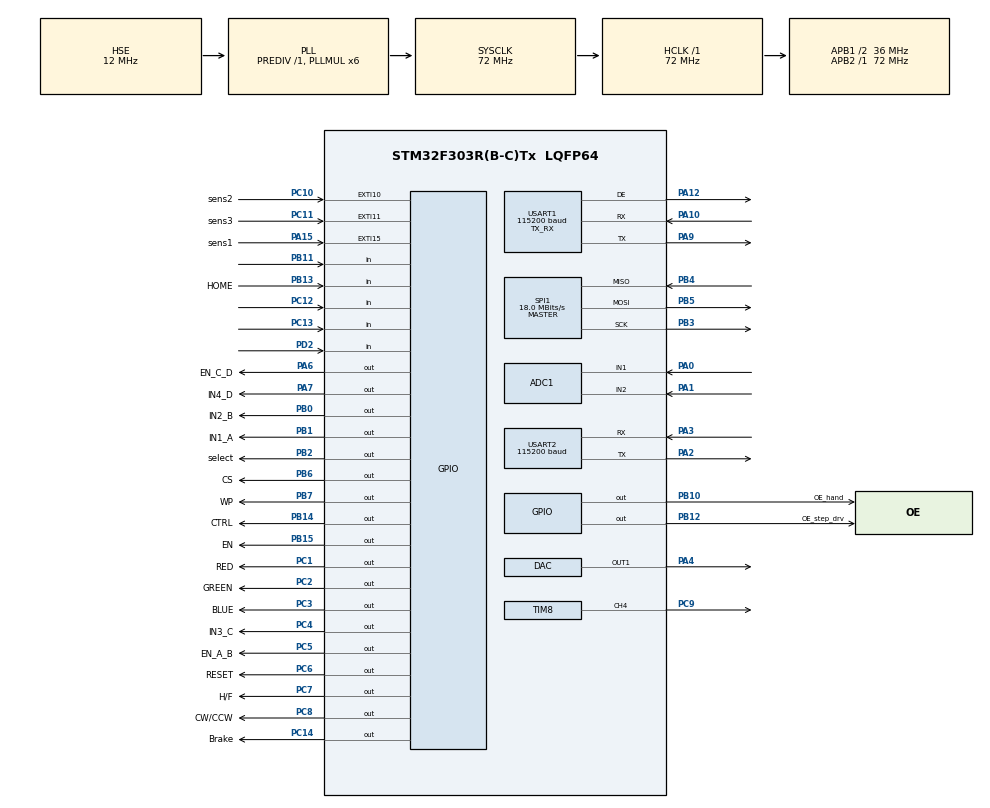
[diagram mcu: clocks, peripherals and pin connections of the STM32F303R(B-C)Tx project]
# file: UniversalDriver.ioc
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ADC1.Channel-0\#ChannelRegularConversion=ADC_CHANNEL_1
ADC1.NbrOfConversionFlag=1
ADC1.Offset-0\#ChannelRegularConversion=0
ADC1.OffsetNumber-0\#ChannelRegularConversion=ADC_OFFSET_NONE
ADC1.Rank-0\#ChannelRegularConversion=1
ADC1.SamplingTime-0\#ChannelRegularConversion=ADC_SAMPLETIME_1CYCLE_5
ADC1.master=1
Dma.Request0=USART2_RX
Dma.Request1=USART2_TX
Dma.USART2_RX.0.Direction=DMA_PERIPH_TO_MEMORY
Dma.USART2_RX.0.Instance=DMA1_Channel6
Dma.USART2_RX.0.MemDataAlignment=DMA_MDATAALIGN_BYTE
Dma.USART2_RX.0.MemInc=DMA_MINC_ENABLE
Dma.USART2_RX.0.Mode=DMA_NORMAL
Dma.USART2_RX.0.PeriphDataAlignment=DMA_PDATAALIGN_BYTE
Dma.USART2_RX.0.PeriphInc=DMA_PINC_DISABLE
Dma.USART2_RX.0.Priority=DMA_PRIORITY_LOW
Dma.USART2_TX.1.Direction=DMA_MEMORY_TO_PERIPH
Dma.USART2_TX.1.Instance=DMA1_Channel7
Dma.USART2_TX.1.MemDataAlignment=DMA_MDATAALIGN_BYTE
Dma.USART2_TX.1.MemInc=DMA_MINC_ENABLE
Dma.USART2_TX.1.Mode=DMA_NORMAL
Dma.USART2_TX.1.PeriphDataAlignment=DMA_PDATAALIGN_BYTE
Dma.USART2_TX.1.PeriphInc=DMA_PINC_DISABLE
Dma.USART2_TX.1.Priority=DMA_PRIORITY_LOW
FREERTOS.BinarySemaphores01=myBinarySem01,Dynamic,NULL;myBinarySem02,Dynamic,NULL;myBinarySem03,Dynamic,NULL
FREERTOS.Tasks01=mainTask,0,512,MainTask,Default,NULL,Dynamic,NULL,NULL;modBus,0,512,ModBus,Default,NULL,Dynamic,NULL,NULL
FREERTOS.configTOTAL_HEAP_SIZE=20480
Mcu.Family=STM32F3
Mcu.Name=STM32F303R(B-C)Tx
Mcu.Package=LQFP64
NVIC.DMA1_Channel6_IRQn=true\:5\:0\:false\:false\:true\:true\:false\:true
NVIC.DMA1_Channel7_IRQn=true\:5\:0\:false\:false\:true\:true\:false\:true
NVIC.EXTI15_10_IRQn=true\:5\:0\:false\:false\:true\:true\:true\:true
NVIC.PriorityGroup=NVIC_PRIORITYGROUP_4
NVIC.TIM1_TRG_COM_TIM17_IRQn=true\:5\:0\:false\:false\:true\:true\:true\:true
NVIC.TIM2_IRQn=true\:5\:0\:false\:false\:true\:true\:true\:true
NVIC.TIM6_DAC_IRQn=true\:5\:0\:false\:false\:true\:true\:true\:true
NVIC.TIM7_IRQn=true\:0\:0\:false\:false\:true\:false\:false\:true
NVIC.TimeBase=TIM7_IRQn
NVIC.TimeBaseIP=TIM7
NVIC.USART1_IRQn=true\:5\:0\:false\:false\:true\:true\:true\:true
PA0.Mode=IN1-Single-Ended
PA0.Signal=ADC1_IN1
PA1.Mode=IN2-Single-Ended
PA1.Signal=ADC1_IN2
PA10.Mode=Asynchronous
PA10.Signal=USART1_RX
PA12.Mode=Hardware Flow Control (RS485)
PA12.Signal=USART1_DE
PA13.Mode=Serial_Wire
PA13.Signal=SYS_JTMS-SWDIO
PA14.Mode=Serial_Wire
PA14.Signal=SYS_JTCK-SWCLK
PA15.GPIO_Label=sens1
PA15.GPIO_ModeDefaultEXTI=GPIO_MODE_IT_RISING_FALLING
PA15.GPIO_PuPd=GPIO_PULLUP
PA15.Signal=GPXTI15
PA2.Mode=Asynchronous
PA2.Signal=USART2_TX
PA3.Mode=Asynchronous
PA3.Signal=USART2_RX
PA4.Signal=COMP_DAC1_group
PA6.GPIO_Label=EN_C_D
PA6.Signal=GPIO_Output
PA7.GPIO_Label=IN4_D
PA7.Signal=GPIO_Output
PA9.Mode=Asynchronous
PA9.Signal=USART1_TX
PB0.GPIO_Label=IN2_B
PB0.Signal=GPIO_Output
PB1.GPIO_Label=IN1_A
PB1.Signal=GPIO_Output
PB10.GPIO_Label=OE_hand
PB10.Signal=GPIO_Output
PB11.Signal=GPIO_Input
PB12.GPIO_Label=OE_step_drv
PB12.Signal=GPIO_Output
PB13.GPIO_Label=HOME
PB13.Signal=GPIO_Input
PB14.GPIO_Label=CTRL
PB14.Signal=GPIO_Output
PB15.GPIO_Label=EN
PB15.Signal=GPIO_Output
PB2.GPIO_Label=select
PB2.Signal=GPIO_Output
PB3.Mode=Full_Duplex_Master
PB3.Signal=SPI1_SCK
PB4.Mode=Full_Duplex_Master
PB4.Signal=SPI1_MISO
PB5.Mode=Full_Duplex_Master
PB5.Signal=SPI1_MOSI
PB6.GPIO_Label=CS
PB6.Signal=GPIO_Output
PB7.GPIO_Label=WP
PB7.Signal=GPIO_Output
PB8.Signal=CAN_RX
PB9.Signal=CAN_TX
PC1.GPIO_Label=RED
PC1.Signal=GPIO_Output
PC10.GPIO_Label=sens2
PC10.GPIO_ModeDefaultEXTI=GPIO_MODE_IT_RISING_FALLING
PC10.GPIO_PuPd=GPIO_PULLUP
PC10.Signal=GPXTI10
PC11.GPIO_Label=sens3
PC11.GPIO_ModeDefaultEXTI=GPIO_MODE_IT_RISING_FALLING
PC11.GPIO_PuPd=GPIO_PULLUP
PC11.Signal=GPXTI11
PC12.Signal=GPIO_Input
PC13.Signal=GPIO_Input
PC14-OSC32_IN.GPIO_Label=Brake
PC14-OSC32_IN.Signal=GPIO_Output
PC2.GPIO_Label=GREEN
PC2.Signal=GPIO_Output
PC3.GPIO_Label=BLUE
PC3.Signal=GPIO_Output
PC4.GPIO_Label=IN3_C
PC4.Signal=GPIO_Output
PC5.GPIO_Label=EN_A_B
PC5.Signal=GPIO_Output
PC6.GPIO_Label=RESET
PC6.Signal=GPIO_Output
PC7.GPIO_Label=H/F
PC7.Signal=GPIO_Output
PC8.GPIO_Label=CW/CCW
PC8.Signal=GPIO_Output
PC9.Signal=S_TIM8_CH4
PD2.Signal=GPIO_Input
PF0-OSC_IN.Mode=HSE-External-Oscillator
PF0-OSC_IN.Signal=RCC_OSC_IN
PF1-OSC_OUT.Mode=HSE-External-Oscillator
PF1-OSC_OUT.Signal=RCC_OSC_OUT
ProjectManager.HeapSize=0x1000
ProjectManager.StackSize=0x400
ProjectManager.TargetToolchain=EWARM V8.32
RCC.AHBFreq_Value=72000000
RCC.APB1CLKDivider=RCC_HCLK_DIV2
RCC.APB1Freq_Value=36000000
RCC.APB1TimFreq_Value=72000000
RCC.APB2Freq_Value=72000000
RCC.APB2TimFreq_Value=72000000
RCC.CortexFreq_Value=72000000
RCC.HCLKFreq_Value=72000000
RCC.HSE_VALUE=12000000
RCC.HSI_VALUE=8000000
RCC.LSE_VALUE=32768
RCC.PLLMUL=RCC_PLL_MUL6
RCC.PLLSourceVirtual=RCC_PLLSOURCE_HSE
RCC.SYSCLKFreq_VALUE=72000000
RCC.SYSCLKSourceVirtual=RCC_SYSCLKSOURCE_PLLCLK
RCC.USBFreq_Value=72000000
RCC.Usart2ClockSelection=RCC_USART2CLKSOURCE_SYSCLK
SH.COMP_DAC1_group.0=DAC_OUT1,DAC_OUT1
SH.S_TIM8_CH4.0=TIM8_CH4,Output Compare4 CH4
SPI1.BaudRatePrescaler=SPI_BAUDRATEPRESCALER_4
SPI1.CalculateBaudRate=18.0 MBits/s
SPI1.Direction=SPI_DIRECTION_2LINES
SPI1.Mode=SPI_MODE_MASTER
SPI1.VirtualType=VM_MASTER
TIM16.Channel=TIM_CHANNEL_1
TIM2.Period=50
TIM6.Prescaler=71
TIM8.Channel-Output\ Compare4\ CH4=TIM_CHANNEL_4
TIM8.Channel-Output\ Compare4\ No\ Output=TIM_CHANNEL_4
TIM8.OCMode_4=TIM_OCMODE_TOGGLE
TIM8.Period=799
TIM8.Prescaler=71
TIM8.Pulse-Output\ Compare4\ CH4=400
TIM8.TIM_MasterOutputTrigger=TIM_TRGO_OC4REF
TIM8.TIM_MasterSlaveMode=TIM_MASTERSLAVEMODE_DISABLE
USART1.AutoBaudRateEnableParam=UART_ADVFEATURE_AUTOBAUDRATE_DISABLE
USART1.BaudRate=115200
USART1.Mode=MODE_TX_RX
USART1.UART_DEAssertionTime=8
USART1.UART_DEDeassertionTime=8
USART1.UART_DEPolarity=UART_DE_POLARITY_HIGH
USART1.VirtualMode-Asynchronous=VM_ASYNC
USART1.VirtualMode-Hardware\ Flow\ Control\ (RS485)=VM_ASYNC
USART2.BaudRate=115200
USART2.VirtualMode-Asynchronous=VM_ASYNC
VP_FREERTOS_VS_CMSIS_V1.Mode=CMSIS_V1
VP_SYS_VS_tim7.Mode=TIM7
VP_TIM16_VS_ClockSourceINT.Mode=Enable_Timer
VP_TIM16_VS_no_output1.Mode=PWM Generation1 No Output
VP_TIM17_VS_ClockSourceINT.Mode=Enable_Timer
VP_TIM2_VS_ClockSourceITR.Mode=TriggerSource_ITR1
VP_TIM2_VS_ControllerModeClock.Mode=Clock Mode
VP_TIM6_VS_ClockSourceINT.Mode=Enable_Timer
board=custom

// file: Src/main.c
/* USER CODE BEGIN Header */
/**
******************************************************************************
* @file           : main.c
* @brief          : Main program body
******************************************************************************
* @attention
*
* <h2><center>&copy; Copyright (c) 2020 STMicroelectronics.
* All rights reserved.</center></h2>
*
* This software component is licensed by ST under Ultimate Liberty license
* SLA0044, the "License"; You may not use this file except in compliance with
* the License. You may obtain a copy of the License at:
*                             www.st.com/SLA0044
*
******************************************************************************
*/
/* USER CODE END Header */

#include "main.h"
#include "cmsis_os.h"
#include "adc.h"
#include "dac.h"
#include "dma.h"
#include "spi.h"
#include "tim.h"
#include "usart.h"
#include "gpio.h"

/* USER CODE BEGIN Includes */
#include "motor.hpp"
#include "flash.h"
/* USER CODE END Includes */

/* USER CODE BEGIN PV */
extern TIM_HandleTypeDef htim3;
settings_t settings = {115200, 0x0D, 0};

step_motor stepper(dir::CW, step::FULL, 20, &hdac, DAC_CHANNEL_1, &htim2, &htim8, &htim6);
//BLDC_motor BLDC();

base_motor *pMotor;
/* USER CODE END PV */

void SystemClock_Config(void);
void MX_FREERTOS_Init(void);

int main(void)
{

  /* MCU Configuration--------------------------------------------------------*/

  /* Reset of all peripherals, Initializes the Flash interface and the Systick. */
  HAL_Init();

  /* Configure the system clock */
  SystemClock_Config();

  /* Initialize all configured peripherals */
  MX_GPIO_Init();
  MX_DMA_Init();
  MX_DAC_Init();
  MX_USART2_UART_Init();
  MX_ADC1_Init();
  MX_SPI1_Init();
  MX_TIM2_Init();
  MX_USART1_UART_Init();
  MX_TIM16_Init();
  MX_TIM17_Init();
  MX_TIM8_Init();
  MX_TIM6_Init();
  /* USER CODE BEGIN 2 */
  Flash_ReadParams(&settings, StartSettingsAddres);

  if((settings.BaudRate == 0) | (settings.BaudRate == 0xFFFFFFFF))
    {

      settings.BaudRate = 115200;
      settings.SlaveAddress = 0x0D;
      settings.motorType = 0;
      FLASH_WriteSettings(settings, StartSettingsAddres);
    }
   //HAL_TIM_PWM_Start_IT(&htim17, TIM_CHANNEL_1); // start PWM

   //HAL_TIM_OC_Start(&htim8, TIM_CHANNEL_4);

   pMotor = &stepper;
  /* USER CODE END 2 */

  /* Call init function for freertos objects (in freertos.c) */
  MX_FREERTOS_Init();
  /* Start scheduler */
  osKernelStart();

  /* We should never get here as control is now taken by the scheduler */
  /* Infinite loop */
   while (1)
   {

  }
}

void SystemClock_Config(void)
{
  RCC_OscInitTypeDef RCC_OscInitStruct = {0};
  RCC_ClkInitTypeDef RCC_ClkInitStruct = {0};
  RCC_PeriphCLKInitTypeDef PeriphClkInit = {0};

  /** Initializes the CPU, AHB and APB busses clocks
  */
  RCC_OscInitStruct.OscillatorType = RCC_OSCILLATORTYPE_HSE;
  RCC_OscInitStruct.HSEState = RCC_HSE_ON;
  RCC_OscInitStruct.HSEPredivValue = RCC_HSE_PREDIV_DIV1;
  RCC_OscInitStruct.HSIState = RCC_HSI_ON;
  RCC_OscInitStruct.PLL.PLLState = RCC_PLL_ON;
  RCC_OscInitStruct.PLL.PLLSource = RCC_PLLSOURCE_HSE;
  RCC_OscInitStruct.PLL.PLLMUL = RCC_PLL_MUL6;
  if (HAL_RCC_OscConfig(&RCC_OscInitStruct) != HAL_OK)
  {
    Error_Handler();
  }
  /** Initializes the CPU, AHB and APB busses clocks
  */
  RCC_ClkInitStruct.ClockType = RCC_CLOCKTYPE_HCLK|RCC_CLOCKTYPE_SYSCLK
                              |RCC_CLOCKTYPE_PCLK1|RCC_CLOCKTYPE_PCLK2;
  RCC_ClkInitStruct.SYSCLKSource = RCC_SYSCLKSOURCE_PLLCLK;
  RCC_ClkInitStruct.AHBCLKDivider = RCC_SYSCLK_DIV1;
  RCC_ClkInitStruct.APB1CLKDivider = RCC_HCLK_DIV2;
  RCC_ClkInitStruct.APB2CLKDivider = RCC_HCLK_DIV1;

  if (HAL_RCC_ClockConfig(&RCC_ClkInitStruct, FLASH_LATENCY_2) != HAL_OK)
  {
    Error_Handler();
  }
  PeriphClkInit.PeriphClockSelection = RCC_PERIPHCLK_USART1|RCC_PERIPHCLK_USART2
                              |RCC_PERIPHCLK_TIM8|RCC_PERIPHCLK_ADC12;
  PeriphClkInit.Usart1ClockSelection = RCC_USART1CLKSOURCE_PCLK2;
  PeriphClkInit.Usart2ClockSelection = RCC_USART2CLKSOURCE_SYSCLK;
  PeriphClkInit.Adc12ClockSelection = RCC_ADC12PLLCLK_DIV1;
  PeriphClkInit.Tim8ClockSelection = RCC_TIM8CLK_HCLK;
  if (HAL_RCCEx_PeriphCLKConfig(&PeriphClkInit) != HAL_OK)
  {
    Error_Handler();
  }
}

 /**
  * @brief  Period elapsed callback in non blocking mode
  * @note   This function is called  when TIM7 interrupt took place, inside
  * HAL_TIM_IRQHandler(). It makes a direct call to HAL_IncTick() to increment
  * a global variable "uwTick" used as application time base.
  * @param  htim : TIM handle
  * @retval None
  */
void HAL_TIM_PeriodElapsedCallback(TIM_HandleTypeDef *htim)
{
  /* USER CODE BEGIN Callback 0 */
   if(htim->Instance == TIM2){
      HAL_TIM_OC_Stop(&htim8, TIM_CHANNEL_4);

   }
   if(htim->Instance == TIM6){
      stepper.AccelHandler();

   }
  /* USER CODE END Callback 0 */
  if (htim->Instance == TIM7) {
    HAL_IncTick();
  }
}

void Error_Handler(void)
{
}

/************************ (C) COPYRIGHT STMicroelectronics *****END OF FILE****/

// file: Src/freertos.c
/* USER CODE BEGIN Header */
/**
******************************************************************************
* File Name          : freertos.c
* Description        : Code for freertos applications
******************************************************************************
* @attention
*
* <h2><center>&copy; Copyright (c) 2020 STMicroelectronics.
* All rights reserved.</center></h2>
*
* This software component is licensed by ST under Ultimate Liberty license
* SLA0044, the "License"; You may not use this file except in compliance with
* the License. You may obtain a copy of the License at:
*                             www.st.com/SLA0044
*
******************************************************************************
*/
/* USER CODE END Header */

#include "FreeRTOS.h"
#include "task.h"
#include "main.h"
#include "cmsis_os.h"

/* USER CODE BEGIN Includes */
#include "mb.h"
#include "mbport.h"
#include "motor.hpp"
#include "flash.h"

using namespace std;
/* USER CODE END Includes */

/* USER CODE BEGIN Variables */
extern settings_t settings;
extern TIM_HandleTypeDef htim17;
extern TIM_HandleTypeDef htim8;
extern DAC_HandleTypeDef hdac;

extern step_motor stepper;
//extern BLDC_motor BLDC;

extern base_motor *pMotor;

int Start = false;
bool DR = false;
int i = 0;
/* USER CODE END Variables */
osThreadId mainTaskHandle;
osThreadId modBusHandle;
osSemaphoreId myBinarySem01Handle;
osSemaphoreId myBinarySem02Handle;
osSemaphoreId myBinarySem03Handle;

/* USER CODE BEGIN FunctionPrototypes */
// extern "C"
/* USER CODE END FunctionPrototypes */

void MainTask(void const * argument);
void ModBus(void const * argument);

void MX_FREERTOS_Init(void); /* (MISRA C 2004 rule 8.1) */

/* GetIdleTaskMemory prototype (linked to static allocation support) */
extern "C" void vApplicationGetIdleTaskMemory( StaticTask_t **ppxIdleTaskTCBBuffer, StackType_t **ppxIdleTaskStackBuffer, uint32_t *pulIdleTaskStackSize );

/* USER CODE BEGIN GET_IDLE_TASK_MEMORY */
static StaticTask_t xIdleTaskTCBBuffer;
static StackType_t xIdleStack[configMINIMAL_STACK_SIZE];

void vApplicationGetIdleTaskMemory( StaticTask_t **ppxIdleTaskTCBBuffer, StackType_t **ppxIdleTaskStackBuffer, uint32_t *pulIdleTaskStackSize )
{
   *ppxIdleTaskTCBBuffer = &xIdleTaskTCBBuffer;
   *ppxIdleTaskStackBuffer = &xIdleStack[0];
   *pulIdleTaskStackSize = configMINIMAL_STACK_SIZE;
   /* place for user code */
}
/* USER CODE END GET_IDLE_TASK_MEMORY */

void MX_FREERTOS_Init(void) {

  /* Create the semaphores(s) */
  /* definition and creation of myBinarySem01 */
  osSemaphoreDef(myBinarySem01);
  myBinarySem01Handle = osSemaphoreCreate(osSemaphore(myBinarySem01), 1);

  /* definition and creation of myBinarySem02 */
  osSemaphoreDef(myBinarySem02);
  myBinarySem02Handle = osSemaphoreCreate(osSemaphore(myBinarySem02), 1);

  /* definition and creation of myBinarySem03 */
  osSemaphoreDef(myBinarySem03);
  myBinarySem03Handle = osSemaphoreCreate(osSemaphore(myBinarySem03), 1);

  /* Create the thread(s) */
  /* definition and creation of mainTask */
  osThreadDef(mainTask, MainTask, osPriorityNormal, 0, 512);
  mainTaskHandle = osThreadCreate(osThread(mainTask), NULL);

  /* definition and creation of modBus */
  osThreadDef(modBus, ModBus, osPriorityNormal, 0, 512);
  modBusHandle = osThreadCreate(osThread(modBus), NULL);

}

void MainTask(void const * argument)
{
  /* USER CODE BEGIN MainTask */

   // switch control to BLDC
   HAL_GPIO_WritePin(select_GPIO_Port, select_Pin, GPIO_PIN_SET);
   HAL_GPIO_WritePin(OE_hand_GPIO_Port, OE_hand_Pin, GPIO_PIN_SET);

   // switch control to STEP
//   HAL_GPIO_WritePin(select_GPIO_Port, select_Pin, GPIO_PIN_RESET);
//   HAL_GPIO_WritePin(OE_step_drv_GPIO_Port, OE_step_drv_Pin, GPIO_PIN_SET);
//   HAL_GPIO_WritePin(OE_hand_GPIO_Port, OE_hand_Pin, GPIO_PIN_SET);
   //stepper.Init();
   //pMotor->goTo(10, dir::CW);
   //pMotor->endMotionHandler();
   /* Infinite loop */
   for(;;)
   {
     //HAL_GPIO_TogglePin(clock_GPIO_Port, clock_Pin);

      HAL_GPIO_WritePin(EN_A_B_GPIO_Port, EN_A_B_Pin, GPIO_PIN_SET);
      HAL_GPIO_WritePin(EN_C_D_GPIO_Port, EN_C_D_Pin, GPIO_PIN_SET);

      for(i = 0; i < 100; ++i)
      {
         HAL_GPIO_WritePin(IN1_A_GPIO_Port, IN1_A_Pin, GPIO_PIN_SET);
         osDelay(3);
         HAL_GPIO_WritePin(IN1_A_GPIO_Port, IN1_A_Pin, GPIO_PIN_RESET);
         osDelay(3);
         HAL_GPIO_WritePin(IN2_B_GPIO_Port, IN2_B_Pin, GPIO_PIN_SET);
         osDelay(3);
         HAL_GPIO_WritePin(IN2_B_GPIO_Port, IN2_B_Pin, GPIO_PIN_RESET);
         osDelay(3);
         HAL_GPIO_WritePin(IN3_C_GPIO_Port, IN3_C_Pin, GPIO_PIN_SET);
         osDelay(3);
         HAL_GPIO_WritePin(IN3_C_GPIO_Port, IN3_C_Pin, GPIO_PIN_RESET);
         osDelay(3);

      }

      if(Start == 1){
         Start = 0;

         TIM8->CNT = 0;
         TIM2->CNT = 0;
         HAL_TIM_OC_Start(&htim8, TIM_CHANNEL_4);
//         if(DR){
//            BLDC.DirectCW();
//         }else{
//            BLDC.DirectCCW();
//         }
//         BLDC.start();

      }
      if(Start == 2){
         Start = 0;
//         BLDC.stop();

      }

      taskYIELD();
     //osDelay(1);
   }
  /* USER CODE END MainTask */
}

void ModBus(void const * argument)
{
  /* USER CODE BEGIN ModBus */
   /* Infinite loop */
   eMBErrorCode eStatus = eMBInit( MB_RTU, settings.SlaveAddress, 3, settings.BaudRate, MB_PAR_NONE );
   eStatus = eMBEnable();
   HAL_TIM_Base_Start_IT(&htim17);
   for(;;)
   {
      eMBPoll();
      taskYIELD();
   }
  /* USER CODE END ModBus */
}

/* USER CODE BEGIN Application */
/*description https://www.freemodbus.org/api/group__modbus__registers.html*/
//0x04
eMBErrorCode
eMBRegInputCB( UCHAR * pucRegBuffer, USHORT usAddress, USHORT usNRegs )
{
   eMBErrorCode    eStatus = MB_ENOERR;

   return eStatus;
}
//0x03 0x06 0x10
eMBErrorCode
eMBRegHoldingCB( UCHAR * pucRegBuffer, USHORT usAddress, USHORT usNRegs, eMBRegisterMode eMode )
{
   //uint8_t CMD[5] = {0};
   volatile HAL_StatusTypeDef status;

   if(usAddress == 0 ){}
   else{usAddress--;}

   eMBErrorCode    eStatus = MB_ENOERR;

   switch (eMode)
   {
     case MB_REG_READ:
      {
         switch (usAddress)
         {
           case 0: //  Stop/Start
            {

               break;
            }
           case 1: // Dir
            {

               break;
            }
           case 2: //Status start/stop
            {
               //*pucRegBuffer = (UCHAR)BLDC.getStatusRotation();
               break;
            }
           case 3: //Status Dir
            {
               //*pucRegBuffer = (UCHAR)BLDC.getStatusDirect();
               break;
            }
           case 4: // RPM
            {

               break;
            }
           case 5: //
            {
               break;
            }
           case 6: //
            {

               break;
            }
           case 7: //
            {
               break;
            }
           case 8:
            {

               break;
            }
           case 9:
            {

               break;
            }
           case 10:
            {

               break;
            }

           default:
            {
               eStatus = MB_ENOREG;
               break;
            }
         }

         break;
      }
     case MB_REG_WRITE:
      {

         switch (usAddress)
         {
           case 0: //  Stop/Start
            {
               if(!*(pucRegBuffer+1)){
                  pMotor->stop();
                  //osDelay(10);
                  pMotor->removeBreak(false);
               }else{
                  pMotor->removeBreak(true);
                  //osDelay(100);
                  pMotor->start();

               }
               break;
            }
           case 1: // Dir
            {
               if(!*(pucRegBuffer+1)){
                  pMotor->stop();
                  //osDelay(100);
                  pMotor->SetDirection(dir::CW);
                  pMotor->start();
               }else{
                  pMotor->stop();
                  //osDelay(100);
                  pMotor->SetDirection(dir::CCW);
                  pMotor->start();
               }
               break;
            }
           case 2:
            {

               break;
            }
           case 3:
            {

               break;
            }
           case 4: //
            {
               pMotor->setSpeed(*(pucRegBuffer+1));
               break;
            }
           case 5: //
            {
               break;
            }
           case 6: //
            {

               break;
            }
           case 7: //
            {
               break;
            }
           case 8:
            {
               FLASH_WriteSettings(settings, StartSettingsAddres);
               break;
            }
           case 9:
            {
               settings.BaudRate = ((*(pucRegBuffer)<<8) | (*(pucRegBuffer+1)))*10;
               break;
            }
           case 10:
            {
               settings.SlaveAddress = *(pucRegBuffer+1);
               break;
            }
           default:
            {
               eStatus = MB_ENOREG;
               break;
            }
         }
         break;
      }
     default:
      {
         eStatus = MB_EINVAL;
         break;
      }
   }

   return eStatus;
}

// 0x01 0x0f 0x05
eMBErrorCode
eMBRegCoilsCB( UCHAR * pucRegBuffer, USHORT usAddress, USHORT usNCoils, eMBRegisterMode eMode )
{
   return MB_ENOREG;
}
//0x02
eMBErrorCode
eMBRegDiscreteCB( UCHAR * pucRegBuffer, USHORT usAddress, USHORT usNDiscrete )
{
   return MB_ENOREG;
}

/******************************************************************************************************
Handlers
******************************************************************************************************/

void HAL_GPIO_EXTI_Callback(uint16_t GPIO_Pin){
   if((GPIO_Pin == sens1_Pin)|(GPIO_Pin == sens2_Pin)|(GPIO_Pin == sens3_Pin) ){
      //BLDC.SensHandler();
   }
}

/* USER CODE END Application */

/************************ (C) COPYRIGHT STMicroelectronics *****END OF FILE****/
